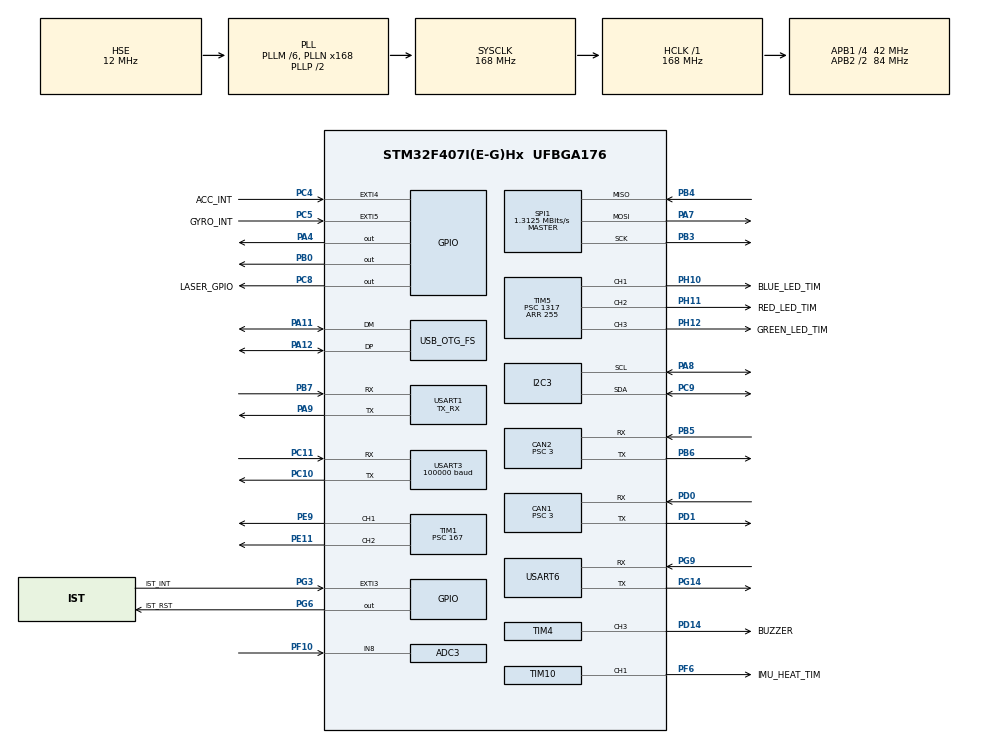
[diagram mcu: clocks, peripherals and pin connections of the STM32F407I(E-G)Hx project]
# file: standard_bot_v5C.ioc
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ADC3.Channel-0\#ChannelRegularConversion=ADC_CHANNEL_8
ADC3.NbrOfConversionFlag=1
ADC3.Rank-0\#ChannelRegularConversion=1
ADC3.SamplingTime-0\#ChannelRegularConversion=ADC_SAMPLETIME_3CYCLES
CAN1.BS1=CAN_BS1_9TQ
CAN1.BS2=CAN_BS2_4TQ
CAN1.CalculateBaudRate=1000000
CAN1.CalculateTimeBit=1000
CAN1.CalculateTimeQuantum=71.42857142857143
CAN1.Mode=CAN_MODE_NORMAL
CAN1.NART=DISABLE
CAN1.Prescaler=3
CAN2.BS1=CAN_BS1_9TQ
CAN2.BS2=CAN_BS2_4TQ
CAN2.CalculateBaudRate=1000000
CAN2.CalculateTimeBit=1000
CAN2.CalculateTimeQuantum=71.42857142857143
CAN2.Prescaler=3
Dma.I2C3_RX.3.Direction=DMA_PERIPH_TO_MEMORY
Dma.I2C3_RX.3.FIFOMode=DMA_FIFOMODE_DISABLE
Dma.I2C3_RX.3.Instance=DMA1_Stream2
Dma.I2C3_RX.3.MemDataAlignment=DMA_MDATAALIGN_BYTE
Dma.I2C3_RX.3.MemInc=DMA_MINC_ENABLE
Dma.I2C3_RX.3.Mode=DMA_NORMAL
Dma.I2C3_RX.3.PeriphDataAlignment=DMA_PDATAALIGN_BYTE
Dma.I2C3_RX.3.PeriphInc=DMA_PINC_DISABLE
Dma.I2C3_RX.3.Priority=DMA_PRIORITY_LOW
Dma.I2C3_TX.4.Direction=DMA_MEMORY_TO_PERIPH
Dma.I2C3_TX.4.FIFOMode=DMA_FIFOMODE_DISABLE
Dma.I2C3_TX.4.Instance=DMA1_Stream4
Dma.I2C3_TX.4.MemDataAlignment=DMA_MDATAALIGN_BYTE
Dma.I2C3_TX.4.MemInc=DMA_MINC_ENABLE
Dma.I2C3_TX.4.Mode=DMA_NORMAL
Dma.I2C3_TX.4.PeriphDataAlignment=DMA_PDATAALIGN_BYTE
Dma.I2C3_TX.4.PeriphInc=DMA_PINC_DISABLE
Dma.I2C3_TX.4.Priority=DMA_PRIORITY_LOW
Dma.Request0=USART6_RX
Dma.Request1=USART3_RX
Dma.Request2=USART1_RX
Dma.Request3=I2C3_RX
Dma.Request4=I2C3_TX
Dma.Request5=SPI1_RX
Dma.Request6=SPI1_TX
Dma.Request7=USART6_TX
Dma.SPI1_RX.5.Direction=DMA_PERIPH_TO_MEMORY
Dma.SPI1_RX.5.FIFOMode=DMA_FIFOMODE_DISABLE
Dma.SPI1_RX.5.Instance=DMA2_Stream0
Dma.SPI1_RX.5.MemDataAlignment=DMA_MDATAALIGN_BYTE
Dma.SPI1_RX.5.MemInc=DMA_MINC_ENABLE
Dma.SPI1_RX.5.Mode=DMA_NORMAL
Dma.SPI1_RX.5.PeriphDataAlignment=DMA_PDATAALIGN_BYTE
Dma.SPI1_RX.5.PeriphInc=DMA_PINC_DISABLE
Dma.SPI1_RX.5.Priority=DMA_PRIORITY_LOW
Dma.SPI1_TX.6.Direction=DMA_MEMORY_TO_PERIPH
Dma.SPI1_TX.6.FIFOMode=DMA_FIFOMODE_DISABLE
Dma.SPI1_TX.6.Instance=DMA2_Stream3
Dma.SPI1_TX.6.MemDataAlignment=DMA_MDATAALIGN_BYTE
Dma.SPI1_TX.6.MemInc=DMA_MINC_ENABLE
Dma.SPI1_TX.6.Mode=DMA_NORMAL
Dma.SPI1_TX.6.PeriphDataAlignment=DMA_PDATAALIGN_BYTE
Dma.SPI1_TX.6.PeriphInc=DMA_PINC_DISABLE
Dma.SPI1_TX.6.Priority=DMA_PRIORITY_LOW
Dma.USART1_RX.2.Direction=DMA_PERIPH_TO_MEMORY
Dma.USART1_RX.2.FIFOMode=DMA_FIFOMODE_DISABLE
Dma.USART1_RX.2.Instance=DMA2_Stream5
Dma.USART1_RX.2.MemDataAlignment=DMA_MDATAALIGN_BYTE
Dma.USART1_RX.2.MemInc=DMA_MINC_ENABLE
Dma.USART1_RX.2.Mode=DMA_CIRCULAR
Dma.USART1_RX.2.PeriphDataAlignment=DMA_PDATAALIGN_BYTE
Dma.USART1_RX.2.PeriphInc=DMA_PINC_DISABLE
Dma.USART1_RX.2.Priority=DMA_PRIORITY_LOW
Dma.USART3_RX.1.Direction=DMA_PERIPH_TO_MEMORY
Dma.USART3_RX.1.FIFOMode=DMA_FIFOMODE_DISABLE
Dma.USART3_RX.1.Instance=DMA1_Stream1
Dma.USART3_RX.1.MemDataAlignment=DMA_MDATAALIGN_BYTE
Dma.USART3_RX.1.MemInc=DMA_MINC_ENABLE
Dma.USART3_RX.1.Mode=DMA_CIRCULAR
Dma.USART3_RX.1.PeriphDataAlignment=DMA_PDATAALIGN_BYTE
Dma.USART3_RX.1.PeriphInc=DMA_PINC_DISABLE
Dma.USART3_RX.1.Priority=DMA_PRIORITY_LOW
Dma.USART6_RX.0.Direction=DMA_PERIPH_TO_MEMORY
Dma.USART6_RX.0.FIFOMode=DMA_FIFOMODE_DISABLE
Dma.USART6_RX.0.Instance=DMA2_Stream1
Dma.USART6_RX.0.MemDataAlignment=DMA_MDATAALIGN_BYTE
Dma.USART6_RX.0.MemInc=DMA_MINC_ENABLE
Dma.USART6_RX.0.Mode=DMA_CIRCULAR
Dma.USART6_RX.0.PeriphDataAlignment=DMA_PDATAALIGN_BYTE
Dma.USART6_RX.0.PeriphInc=DMA_PINC_DISABLE
Dma.USART6_RX.0.Priority=DMA_PRIORITY_LOW
Dma.USART6_TX.7.Direction=DMA_MEMORY_TO_PERIPH
Dma.USART6_TX.7.FIFOMode=DMA_FIFOMODE_DISABLE
Dma.USART6_TX.7.Instance=DMA2_Stream6
Dma.USART6_TX.7.MemDataAlignment=DMA_MDATAALIGN_BYTE
Dma.USART6_TX.7.MemInc=DMA_MINC_ENABLE
Dma.USART6_TX.7.Mode=DMA_NORMAL
Dma.USART6_TX.7.PeriphDataAlignment=DMA_PDATAALIGN_BYTE
Dma.USART6_TX.7.PeriphInc=DMA_PINC_DISABLE
Dma.USART6_TX.7.Priority=DMA_PRIORITY_LOW
FREERTOS.INCLUDE_vTaskDelayUntil=1
FREERTOS.INCLUDE_xEventGroupSetBitFromISR=1
FREERTOS.INCLUDE_xTimerPendFunctionCall=1
FREERTOS.Tasks01=defaultTask,0,256,StartDefaultTask,Default,NULL,Dynamic,NULL,NULL
FREERTOS.configCHECK_FOR_STACK_OVERFLOW=1
FREERTOS.configGENERATE_RUN_TIME_STATS=1
FREERTOS.configMAX_PRIORITIES=15
FREERTOS.configMINIMAL_STACK_SIZE=256
FREERTOS.configTOTAL_HEAP_SIZE=40000
FREERTOS.configUSE_NEWLIB_REENTRANT=1
FREERTOS.configUSE_STATS_FORMATTING_FUNCTIONS=1
FREERTOS.configUSE_TIMERS=1
FREERTOS.configUSE_TRACE_FACILITY=1
I2C3.I2C_Mode=I2C_Fast
Mcu.Family=STM32F4
Mcu.Name=STM32F407I(E-G)Hx
Mcu.Package=UFBGA176
NVIC.CAN1_RX0_IRQn=true\:5\:0\:false\:false\:true\:true\:true\:true\:true
NVIC.CAN1_RX1_IRQn=true\:5\:0\:false\:false\:true\:true\:true\:true\:true
NVIC.CAN2_RX0_IRQn=true\:5\:0\:false\:false\:true\:true\:true\:true\:true
NVIC.CAN2_RX1_IRQn=true\:5\:0\:false\:false\:true\:true\:true\:true\:true
NVIC.DMA1_Stream1_IRQn=true\:5\:0\:false\:false\:true\:true\:false\:true\:true
NVIC.DMA1_Stream2_IRQn=true\:5\:0\:false\:false\:true\:true\:false\:true\:true
NVIC.DMA1_Stream4_IRQn=true\:5\:0\:false\:false\:true\:true\:false\:true\:true
NVIC.DMA2_Stream0_IRQn=true\:5\:0\:false\:false\:true\:true\:false\:true\:true
NVIC.DMA2_Stream1_IRQn=true\:5\:0\:false\:false\:true\:true\:false\:true\:true
NVIC.DMA2_Stream3_IRQn=true\:5\:0\:false\:false\:true\:true\:false\:true\:true
NVIC.DMA2_Stream5_IRQn=true\:5\:0\:false\:false\:true\:false\:false\:true\:true
NVIC.DMA2_Stream6_IRQn=true\:5\:0\:false\:false\:true\:true\:false\:true\:true
NVIC.EXTI3_IRQn=true\:5\:0\:false\:false\:true\:true\:true\:true\:true
NVIC.EXTI4_IRQn=true\:5\:0\:false\:false\:true\:true\:true\:true\:true
NVIC.EXTI9_5_IRQn=true\:5\:0\:false\:false\:true\:true\:true\:true\:true
NVIC.I2C3_ER_IRQn=true\:5\:0\:false\:false\:true\:true\:true\:true\:true
NVIC.OTG_FS_IRQn=true\:5\:0\:false\:false\:true\:true\:false\:true\:true
NVIC.PriorityGroup=NVIC_PRIORITYGROUP_4
NVIC.TIM2_IRQn=true\:0\:0\:false\:false\:true\:false\:false\:true\:true
NVIC.TIM3_IRQn=true\:5\:0\:false\:false\:true\:true\:true\:true\:true
NVIC.TimeBase=TIM2_IRQn
NVIC.TimeBaseIP=TIM2
NVIC.USART1_IRQn=true\:5\:0\:false\:false\:true\:true\:true\:true\:true
NVIC.USART3_IRQn=true\:5\:0\:false\:false\:true\:true\:true\:true\:true
NVIC.USART6_IRQn=true\:5\:0\:false\:false\:true\:true\:true\:true\:true
PA11.Mode=Device_Only
PA11.Signal=USB_OTG_FS_DM
PA12.Mode=Device_Only
PA12.Signal=USB_OTG_FS_DP
PA13.Mode=Serial_Wire
PA13.Signal=SYS_JTMS-SWDIO
PA14.Mode=Serial_Wire
PA14.Signal=SYS_JTCK-SWCLK
PA4.PinState=GPIO_PIN_SET
PA4.Signal=GPIO_Output
PA7.Mode=Full_Duplex_Master
PA7.Signal=SPI1_MOSI
PA8.GPIO_Pu=GPIO_PULLUP
PA8.Mode=I2C
PA8.Signal=I2C3_SCL
PA9.Mode=Asynchronous
PA9.Signal=USART1_TX
PB0.PinState=GPIO_PIN_SET
PB0.Signal=GPIO_Output
PB3.Mode=Full_Duplex_Master
PB3.Signal=SPI1_SCK
PB4.Mode=Full_Duplex_Master
PB4.Signal=SPI1_MISO
PB5.Mode=CAN_Activate
PB5.Signal=CAN2_RX
PB6.Mode=CAN_Activate
PB6.Signal=CAN2_TX
PB7.GPIO_PuPd=GPIO_NOPULL
PB7.Mode=Asynchronous
PB7.Signal=USART1_RX
PC10.Mode=Asynchronous
PC10.Signal=USART3_TX
PC11.Mode=Asynchronous
PC11.Signal=USART3_RX
PC4.GPIO_Label=ACC_INT
PC4.GPIO_ModeDefaultEXTI=GPIO_MODE_IT_FALLING
PC4.GPIO_PuPd=GPIO_PULLUP
PC4.Signal=GPXTI4
PC5.GPIO_Label=GYRO_INT
PC5.GPIO_ModeDefaultEXTI=GPIO_MODE_IT_FALLING
PC5.GPIO_PuPd=GPIO_PULLUP
PC5.Signal=GPXTI5
PC8.GPIO_Label=LASER_GPIO
PC8.PinState=GPIO_PIN_RESET
PC8.Signal=GPIO_Output
PC9.GPIO_Pu=GPIO_PULLUP
PC9.Mode=I2C
PC9.Signal=I2C3_SDA
PD0.Mode=CAN_Activate
PD0.Signal=CAN1_RX
PD1.Mode=CAN_Activate
PD1.Signal=CAN1_TX
PD14.GPIO_Label=BUZZER
PD14.Signal=S_TIM4_CH3
PE11.Signal=S_TIM1_CH2
PE9.Signal=S_TIM1_CH1
PF10.Mode=IN8
PF10.Signal=ADC3_IN8
PF6.GPIO_Label=IMU_HEAT_TIM
PF6.Signal=S_TIM10_CH1
PG14.Mode=Asynchronous
PG14.Signal=USART6_TX
PG3.GPIO_Label=IST_INT
PG3.GPIO_ModeDefaultEXTI=GPIO_MODE_IT_FALLING
PG3.GPIO_PuPd=GPIO_PULLUP
PG3.Signal=GPXTI3
PG6.GPIO_Label=IST_RST
PG6.Signal=GPIO_Output
PG9.Mode=Asynchronous
PG9.Signal=USART6_RX
PH0-OSC_IN.Mode=HSE-External-Oscillator
PH0-OSC_IN.Signal=RCC_OSC_IN
PH1-OSC_OUT.Mode=HSE-External-Oscillator
PH1-OSC_OUT.Signal=RCC_OSC_OUT
PH10.GPIO_Label=BLUE_LED_TIM
PH10.Signal=S_TIM5_CH1
PH11.GPIO_Label=RED_LED_TIM
PH11.Signal=S_TIM5_CH2
PH12.GPIO_Label=GREEN_LED_TIM
PH12.Signal=S_TIM5_CH3
ProjectManager.HeapSize=0x2000
ProjectManager.StackSize=0x4000
ProjectManager.TargetToolchain=STM32CubeIDE
RCC.48MHZClocksFreq_Value=48000000
RCC.AHBFreq_Value=168000000
RCC.APB1CLKDivider=RCC_HCLK_DIV4
RCC.APB1Freq_Value=42000000
RCC.APB1TimFreq_Value=84000000
RCC.APB2CLKDivider=RCC_HCLK_DIV2
RCC.APB2Freq_Value=84000000
RCC.APB2TimFreq_Value=168000000
RCC.CortexFreq_Value=168000000
RCC.HCLKFreq_Value=168000000
RCC.HSE_VALUE=12000000
RCC.HSI_VALUE=16000000
RCC.LSE_VALUE=32768
RCC.PLLM=6
RCC.PLLN=168
RCC.PLLQ=7
RCC.SYSCLKFreq_VALUE=168000000
RCC.SYSCLKSource=RCC_SYSCLKSOURCE_PLLCLK
RCC.VCOOutputFreq_Value=336000000
SH.S_TIM10_CH1.0=TIM10_CH1,PWM Generation1 CH1
SH.S_TIM1_CH1.0=TIM1_CH1,PWM Generation1 CH1
SH.S_TIM1_CH2.0=TIM1_CH2,PWM Generation2 CH2
SH.S_TIM4_CH3.0=TIM4_CH3,PWM Generation3 CH3
SH.S_TIM5_CH1.0=TIM5_CH1,PWM Generation1 CH1
SH.S_TIM5_CH2.0=TIM5_CH2,PWM Generation2 CH2
SH.S_TIM5_CH3.0=TIM5_CH3,PWM Generation3 CH3
SPI1.BaudRatePrescaler=SPI_BAUDRATEPRESCALER_64
SPI1.CalculateBaudRate=1.3125 MBits/s
SPI1.Direction=SPI_DIRECTION_2LINES
SPI1.Mode=SPI_MODE_MASTER
SPI1.VirtualType=VM_MASTER
TIM1.Channel-PWM\ Generation1\ CH1=TIM_CHANNEL_1
TIM1.Channel-PWM\ Generation2\ CH2=TIM_CHANNEL_2
TIM1.Period=19999
TIM1.Prescaler=167
TIM10.Channel=TIM_CHANNEL_1
TIM3.Channel-Output\ Compare1\ No\ Output=TIM_CHANNEL_1
TIM3.Period=1
TIM3.Prescaler=168-1
TIM4.Channel-PWM\ Generation3\ CH3=TIM_CHANNEL_3
TIM4.Period=1000-1
TIM4.Prescaler=1000-1
TIM5.AutoReloadPreload=TIM_AUTORELOAD_PRELOAD_ENABLE
TIM5.Channel-PWM\ Generation1\ CH1=TIM_CHANNEL_1
TIM5.Channel-PWM\ Generation2\ CH2=TIM_CHANNEL_2
TIM5.Channel-PWM\ Generation3\ CH3=TIM_CHANNEL_3
TIM5.OCFastMode_PWM-PWM\ Generation1\ CH1=TIM_OCFAST_ENABLE
TIM5.OCFastMode_PWM-PWM\ Generation2\ CH2=TIM_OCFAST_ENABLE
TIM5.OCFastMode_PWM-PWM\ Generation3\ CH3=TIM_OCFAST_ENABLE
TIM5.OCMode_PWM-PWM\ Generation2\ CH2=TIM_OCMODE_PWM1
TIM5.OCPolarity_1=TIM_OCPOLARITY_LOW
TIM5.OCPolarity_2=TIM_OCPOLARITY_LOW
TIM5.OCPolarity_3=TIM_OCPOLARITY_LOW
TIM5.Period=255
TIM5.Prescaler=1317
USART1.Mode=MODE_TX_RX
USART1.VirtualMode=VM_ASYNC
USART3.BaudRate=100000
USART3.Parity=PARITY_EVEN
USART3.VirtualMode=VM_ASYNC
USART3.WordLength=WORDLENGTH_9B
USART6.VirtualMode=VM_ASYNC
USB_DEVICE.CLASS_NAME_FS=CDC
USB_DEVICE.VirtualMode-CDC_FS=Cdc
USB_DEVICE.VirtualModeFS=Cdc_FS
USB_OTG_FS.VirtualMode=Device_Only
VP_FREERTOS_VS_CMSIS_V1.Mode=CMSIS_V1
VP_RNG_VS_RNG.Mode=RNG_Activate
VP_SYS_VS_tim2.Mode=TIM2
VP_TIM10_VS_ClockSourceINT.Mode=Enable_Timer
VP_TIM3_VS_ClockSourceINT.Mode=Internal
VP_TIM3_VS_no_output1.Mode=Output Compare1 No Output
VP_USB_DEVICE_VS_USB_DEVICE_CDC_FS.Mode=CDC_FS
board=custom

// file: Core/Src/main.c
 /* USER CODE BEGIN Header */
/**
  ******************************************************************************
  * @file           : main.c
  * @brief          : Main program body
  ******************************************************************************
  * @attention
  *
  * <h2><center>&copy; Copyright (c) 2021 STMicroelectronics.
  * All rights reserved.</center></h2>
  *
  * This software component is licensed by ST under Ultimate Liberty license
  * SLA0044, the "License"; You may not use this file except in compliance with
  * the License. You may obtain a copy of the License at:
  *                             www.st.com/SLA0044
  *
  ******************************************************************************
  */
/* USER CODE END Header */
#include "main.h"
#include "cmsis_os.h"
#include "adc.h"
#include "can.h"
#include "dma.h"
#include "i2c.h"
#include "rng.h"
#include "spi.h"
#include "tim.h"
#include "usart.h"
#include "usb_device.h"
#include "gpio.h"

/* USER CODE BEGIN Includes */
#include "board_lib.h"
#include "startup_task.h"
/* USER CODE END Includes */

void SystemClock_Config(void);
void MX_FREERTOS_Init(void);

int main(void)
{

  /* MCU Configuration--------------------------------------------------------*/

  /* Reset of all peripherals, Initializes the Flash interface and the Systick. */
  HAL_Init();

  /* Configure the system clock */
  SystemClock_Config();

  /* Initialize all configured peripherals */
  MX_GPIO_Init();
  MX_DMA_Init();
  MX_CAN1_Init();
  MX_CAN2_Init();
  MX_TIM5_Init();
  MX_TIM10_Init();
  MX_USART1_UART_Init();
  MX_USART3_UART_Init();
  MX_USART6_UART_Init();
  MX_SPI1_Init();
  MX_I2C3_Init();
  MX_ADC3_Init();
  MX_TIM3_Init();
  MX_TIM4_Init();
  MX_TIM1_Init();
  MX_RNG_Init();
  /* USER CODE BEGIN 2 */
  startup_task();
  HAL_TIM_Base_Start(&htim3); //start micros clock
//  HAL_RNG_GenerateRandomNumber(hrng, random32bit)
  /* USER CODE END 2 */

  /* Call init function for freertos objects (in freertos.c) */
  MX_FREERTOS_Init();

  /* Start scheduler */
  osKernelStart();
  /* We should never get here as control is now taken by the scheduler */
  /* Infinite loop */
  while (1)
  {

  }
}

void SystemClock_Config(void)
{
  RCC_OscInitTypeDef RCC_OscInitStruct = {0};
  RCC_ClkInitTypeDef RCC_ClkInitStruct = {0};

  /** Configure the main internal regulator output voltage
  */
  __HAL_RCC_PWR_CLK_ENABLE();
  __HAL_PWR_VOLTAGESCALING_CONFIG(PWR_REGULATOR_VOLTAGE_SCALE1);

  /** Initializes the RCC Oscillators according to the specified parameters
  * in the RCC_OscInitTypeDef structure.
  */
  RCC_OscInitStruct.OscillatorType = RCC_OSCILLATORTYPE_HSE;
  RCC_OscInitStruct.HSEState = RCC_HSE_ON;
  RCC_OscInitStruct.PLL.PLLState = RCC_PLL_ON;
  RCC_OscInitStruct.PLL.PLLSource = RCC_PLLSOURCE_HSE;
  RCC_OscInitStruct.PLL.PLLM = 6;
  RCC_OscInitStruct.PLL.PLLN = 168;
  RCC_OscInitStruct.PLL.PLLP = RCC_PLLP_DIV2;
  RCC_OscInitStruct.PLL.PLLQ = 7;
  if (HAL_RCC_OscConfig(&RCC_OscInitStruct) != HAL_OK)
  {
    Error_Handler();
  }

  /** Initializes the CPU, AHB and APB buses clocks
  */
  RCC_ClkInitStruct.ClockType = RCC_CLOCKTYPE_HCLK|RCC_CLOCKTYPE_SYSCLK
                              |RCC_CLOCKTYPE_PCLK1|RCC_CLOCKTYPE_PCLK2;
  RCC_ClkInitStruct.SYSCLKSource = RCC_SYSCLKSOURCE_PLLCLK;
  RCC_ClkInitStruct.AHBCLKDivider = RCC_SYSCLK_DIV1;
  RCC_ClkInitStruct.APB1CLKDivider = RCC_HCLK_DIV4;
  RCC_ClkInitStruct.APB2CLKDivider = RCC_HCLK_DIV2;

  if (HAL_RCC_ClockConfig(&RCC_ClkInitStruct, FLASH_LATENCY_5) != HAL_OK)
  {
    Error_Handler();
  }
}

void HAL_TIM_PeriodElapsedCallback(TIM_HandleTypeDef *htim)
{
  if (htim->Instance == TIM2) {
    HAL_IncTick();
  }
}

void Error_Handler(void)
{
  __disable_irq();
  while (1)
  {
  }
}

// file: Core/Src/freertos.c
/* USER CODE BEGIN Header */
/**
 ******************************************************************************
 * File Name          : freertos.c
 * Description        : Code for freertos applications
 ******************************************************************************
 * @attention
 *
 * <h2><center>&copy; Copyright (c) 2021 STMicroelectronics.
 * All rights reserved.</center></h2>
 *
 * This software component is licensed by ST under Ultimate Liberty license
 * SLA0044, the "License"; You may not use this file except in compliance with
 * the License. You may obtain a copy of the License at:
 *                             www.st.com/SLA0044
 *
 ******************************************************************************
 */
/* USER CODE END Header */

#include "FreeRTOS.h"
#include "task.h"
#include "main.h"
#include "cmsis_os.h"

/* USER CODE BEGIN Includes */

#include "board_lib.h"
#include "startup_task.h"
#include "gimbal_control_task.h"
#include "movement_control_task.h"
#include "referee_processing_task.h"
#include "control_input_task.h"
#include "launcher_control_task.h"
#include "imu_processing_task.h"
#include "hud_task.h"
#include "robot_config.h"
#include "buzzing_task.h"
#include "telemetry_task.h"
#include "motor_config.h"
#include "usb_task.h"
#include "wheel_control_task.h"
#include "motors_process.h"
#include "motor_control.h"

/* USER CODE END Includes */

/* USER CODE BEGIN PD */
//FreeRTOS definitions
#define ISR_SEMAPHORE_COUNT 1
#define QUEUE_SIZE 1

/* USER CODE END PD */

/* USER CODE BEGIN Variables */

//Input control task definitions
TaskHandle_t gimbal_control_task_handle;
TaskHandle_t movement_control_task_handle;
TaskHandle_t referee_processing_task_handle;
TaskHandle_t control_input_task_handle;
TaskHandle_t launcher_control_task_handle;
TaskHandle_t buzzing_task_handle;
TaskHandle_t motor_calib_task_handle;
TaskHandle_t usb_task_handle;
TaskHandle_t imu_processing_task_handle;
TaskHandle_t telemetry_task_handle;
TaskHandle_t hud_task_handle;
TaskHandle_t balancing_task_handle;
TaskHandle_t Ctrl_TargetUpdateTask_handle;
TaskHandle_t LegPos_UpdateTask_handle;
TaskHandle_t Ctrl_Task_handle;
TaskHandle_t motors_process_handle;
TaskHandle_t motor_send_RTOS_handle;

EventGroupHandle_t gimbal_event_group;
EventGroupHandle_t chassis_event_group;
EventGroupHandle_t launcher_event_group;

SemaphoreHandle_t usb_continue_semaphore;

QueueHandle_t gyro_data_queue;
QueueHandle_t accel_data_queue;
QueueHandle_t mag_data_queue;

QueueHandle_t telem_data_queue;
QueueHandle_t buzzing_task_msg;
QueueHandle_t xvr_data_queue;
QueueHandle_t uart_data_queue;

/* USER CODE END Variables */
osThreadId defaultTaskHandle;

void StartDefaultTask(void const * argument);

extern void MX_USB_DEVICE_Init(void);
void MX_FREERTOS_Init(void); /* (MISRA C 2004 rule 8.1) */

/* GetIdleTaskMemory prototype (linked to static allocation support) */
void vApplicationGetIdleTaskMemory( StaticTask_t **ppxIdleTaskTCBBuffer, StackType_t **ppxIdleTaskStackBuffer, uint32_t *pulIdleTaskStackSize );

/* GetTimerTaskMemory prototype (linked to static allocation support) */
void vApplicationGetTimerTaskMemory( StaticTask_t **ppxTimerTaskTCBBuffer, StackType_t **ppxTimerTaskStackBuffer, uint32_t *pulTimerTaskStackSize );

/* Hook prototypes */
void configureTimerForRunTimeStats(void);
unsigned long getRunTimeCounterValue(void);
void vApplicationStackOverflowHook(xTaskHandle xTask, signed char *pcTaskName);

/* USER CODE BEGIN 1 */
/* Functions needed when configGENERATE_RUN_TIME_STATS is on */
__weak void configureTimerForRunTimeStats(void) {

}

__weak unsigned long getRunTimeCounterValue(void) {
	return 0;
}
/* USER CODE END 1 */

/* USER CODE BEGIN 4 */
__weak void vApplicationStackOverflowHook(xTaskHandle xTask,
		signed char *pcTaskName) {
	/* Run time stack overflow checking is performed if
	 configCHECK_FOR_STACK_OVERFLOW is defined to 1 or 2. This hook function is
	 called if a stack overflow is detected. */
}
/* USER CODE END 4 */

/* USER CODE BEGIN GET_IDLE_TASK_MEMORY */
static StaticTask_t xIdleTaskTCBBuffer;
static StackType_t xIdleStack[configMINIMAL_STACK_SIZE];

void vApplicationGetIdleTaskMemory(StaticTask_t **ppxIdleTaskTCBBuffer,
		StackType_t **ppxIdleTaskStackBuffer, uint32_t *pulIdleTaskStackSize) {
	*ppxIdleTaskTCBBuffer = &xIdleTaskTCBBuffer;
	*ppxIdleTaskStackBuffer = &xIdleStack[0];
	*pulIdleTaskStackSize = configMINIMAL_STACK_SIZE;
	/* place for user code */
}
/* USER CODE END GET_IDLE_TASK_MEMORY */

/* USER CODE BEGIN GET_TIMER_TASK_MEMORY */
static StaticTask_t xTimerTaskTCBBuffer;
static StackType_t xTimerStack[configTIMER_TASK_STACK_DEPTH];

void vApplicationGetTimerTaskMemory(StaticTask_t **ppxTimerTaskTCBBuffer,
		StackType_t **ppxTimerTaskStackBuffer, uint32_t *pulTimerTaskStackSize) {
	*ppxTimerTaskTCBBuffer = &xTimerTaskTCBBuffer;
	*ppxTimerTaskStackBuffer = &xTimerStack[0];
	*pulTimerTaskStackSize = configTIMER_TASK_STACK_DEPTH;
	/* place for user code */
}
/* USER CODE END GET_TIMER_TASK_MEMORY */

void MX_FREERTOS_Init(void) {

  /* USER CODE BEGIN RTOS_SEMAPHORES */
	/* add semaphores, ... */
	gimbal_event_group = xEventGroupCreate();
	chassis_event_group = xEventGroupCreate();
	launcher_event_group = xEventGroupCreate();

	usb_continue_semaphore = xSemaphoreCreateBinary();

	//Controls when different task_RTOS execute

  /* USER CODE END RTOS_SEMAPHORES */

  /* USER CODE BEGIN RTOS_QUEUES */
	/* add queues, ... */
	gyro_data_queue = xQueueCreate(5, sizeof(gyro_data_t));
	accel_data_queue = xQueueCreate(5, sizeof(accel_data_t));
	mag_data_queue = xQueueCreate(5, sizeof(mag_data_t));
	//telem_data_queue = xQueueCreate(10, sizeof(telem_data_struct_t));
	buzzing_task_msg = xQueueCreate(48, sizeof(uint8_t));
	uart_data_queue = xQueueCreate(5, sizeof(ref_msg_t));

  /* USER CODE END RTOS_QUEUES */

  /* Create the thread(s) */
  /* definition and creation of defaultTask */
  osThreadDef(defaultTask, StartDefaultTask, osPriorityNormal, 0, 256);
  defaultTaskHandle = osThreadCreate(osThread(defaultTask), NULL);

  /* USER CODE BEGIN RTOS_THREADS */
	/* add threads, ... */
	//todo: adjust priorities
	//Threads creation
	xTaskCreate(imu_processing_task, "IMU_task",
	1024, (void*) 1, (UBaseType_t) 15,
			&imu_processing_task_handle);

	xTaskCreate(motor_calib_task, "motor_calib_task",
	configMINIMAL_STACK_SIZE, (void*) 1, (UBaseType_t) 9,
			&motor_calib_task_handle);

//	if (gimbal_event_group == NULL) {
//		//error handler implement next time!
//	} else {
		xTaskCreate(gimbal_control_task, "gimbal_task",
		configMINIMAL_STACK_SIZE, (void*) 1, (UBaseType_t) 7,
				&gimbal_control_task_handle);
//	}
//new implementation
	//todo: adjust priorities
	//Threads creation
	xTaskCreate(Ctrl_Task, "Ctrl_Task_task",
					configMINIMAL_STACK_SIZE, (void*) 1, (UBaseType_t) 8,
							&Ctrl_Task_handle);

	xTaskCreate(LegPos_UpdateTask, "LegPos_UpdateTask",
				configMINIMAL_STACK_SIZE, (void*) 1, (UBaseType_t) 8,
						&LegPos_UpdateTask_handle);

	xTaskCreate(Ctrl_TargetUpdateTask, "Ctrl_TargetUpdateTask",
			configMINIMAL_STACK_SIZE, (void*) 1, (UBaseType_t) 8,
					&Ctrl_TargetUpdateTask_handle);

	xTaskCreate(motors_process_task, "motor_process",
		configMINIMAL_STACK_SIZE, (void*) 1, (UBaseType_t) 8,
				&motors_process_handle);

	xTaskCreate(balancing_task, "balancing_task",
			configMINIMAL_STACK_SIZE, (void*) 1, (UBaseType_t) 8,
					&balancing_task_handle);

	xTaskCreate(motor_send_RTOS, "motor_send_RTOS",
			512, (void*) 3, (UBaseType_t) 9,
					&motor_send_RTOS_handle);

	// xTaskCreate(leg_kinematic_task, "leg_kinematic",
	// 		configMINIMAL_STACK_SIZE, (void*) 1, (UBaseType_t) 8,
	// 				&leg_kinematic_handle);
//end of new implementation

	// if (chassis_event_group == NULL) {
	// 	//error handler
	// } else {
	// 	xTaskCreate(movement_control_task, "chassis_task",
	// 	configMINIMAL_STACK_SIZE, (void*) 1, (UBaseType_t) 4,
	// 			&movement_control_task_handle);
	// }

	if (launcher_event_group == NULL) {
		//error handler
	} else {
		xTaskCreate(launcher_control_task, "launcher_task",
		configMINIMAL_STACK_SIZE, (void*) 1, (UBaseType_t) 4,
				&launcher_control_task_handle);
	}

	xTaskCreate(control_input_task, "RC_task",
	1024, (void*) 1, (UBaseType_t) 4,
			&control_input_task_handle);
	xTaskCreate(referee_processing_task, "referee_task", 2048, (void*) 1,
			(UBaseType_t) 2, &referee_processing_task_handle);
	xTaskCreate(buzzing_task, "buzzer_task",
	configMINIMAL_STACK_SIZE, (void*) 1, (UBaseType_t) 1, &buzzing_task_handle);
	if (usb_continue_semaphore == NULL) {
		//error handler
	} else {
		xTaskCreate(usb_task, "usb_task",
		configMINIMAL_STACK_SIZE, (void*) 1, (UBaseType_t) 1, &usb_task_handle);
	}

	xTaskCreate(telemetry_task, "telemetry_task", 700, (void*) 1,
			(UBaseType_t) 5, &telemetry_task_handle);
	xTaskCreate(hud_task, "hud_task", 500, (void*) 3,
			(UBaseType_t) 5, &hud_task_handle);

  /* USER CODE END RTOS_THREADS */

}

void StartDefaultTask(void const * argument)
{
  /* init code for USB_DEVICE */
  MX_USB_DEVICE_Init();
	for (;;) {
		osDelay(1);
	}
}
